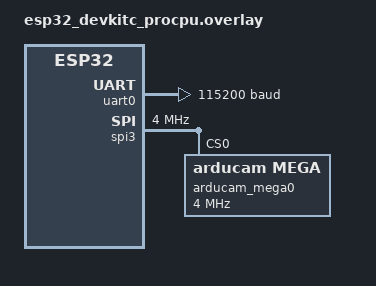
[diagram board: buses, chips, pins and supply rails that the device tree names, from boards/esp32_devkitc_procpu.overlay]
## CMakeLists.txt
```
# SPDX-License-Identifier: Apache-2.0

cmake_minimum_required(VERSION 3.20.0)
find_package(Zephyr REQUIRED HINTS $ENV{ZEPHYR_BASE})
project(arducam_mega_full-featured)

FILE(GLOB app_sources src/*.c)
target_sources(app PRIVATE ${app_sources})
```

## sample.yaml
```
sample:
  name: arducam mega camera full-featured test
tests:
  sample.video.arducam_mega_full-featured:
    build_only: true
    tags: video
    platform_allow:
      - rpi_pico
    integration_platforms:
      - rpi_pico
```

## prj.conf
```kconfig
CONFIG_PRINTK=y
CONFIG_LOG=y
CONFIG_SERIAL=y

CONFIG_SPI=y
CONFIG_VIDEO=y
CONFIG_VIDEO_INIT_PRIORITY=72
CONFIG_VIDEO_BUFFER_POOL_SZ_MAX=2048
CONFIG_VIDEO_BUFFER_POOL_NUM_MAX=3
CONFIG_VIDEO_ARDUCAM_MEGA=y
```

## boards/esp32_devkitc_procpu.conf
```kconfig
CONFIG_UART_INTERRUPT_DRIVEN=y
CONFIG_VIDEO_LOG_LEVEL_INF=y
```

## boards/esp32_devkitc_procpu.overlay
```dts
/**
 * Copyright (c) 2023 Arducam Technology Co., Ltd. <www.arducam.com>
 *
 * SPDX-License-Identifier: Apache-2.0
 *
 */
&uart0{
	current-speed = <115200>;
};

&spi3 {
	clock-frequency = <4000000>;
	pinctrl-names = "default";
	arducam_mega0:arducam-mega0@0 {
		compatible = "arducam,mega";
		reg = <0>;
		spi-max-frequency = <4000000>;
		status = "okay";
	};
};
```

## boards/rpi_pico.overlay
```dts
/**
 * Copyright (c) 2023 Arducam Technology Co., Ltd. <www.arducam.com>
 *
 * SPDX-License-Identifier: Apache-2.0
 *
 */

&uart0{
	current-speed = <115200>;
};

&spi0 {
	clock-frequency = <4000000>;
	cs-gpios = <&gpio0 17 GPIO_ACTIVE_LOW>;
	pinctrl-names = "default";
	arducam_mega0:arducam-mega0@0 {
		compatible = "arducam,mega";
		reg = <0>;
		spi-max-frequency = <4000000>;
		status = "okay";
	};
};
```

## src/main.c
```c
/**
 * Copyright (c) 2023 Arducam Technology Co., Ltd. <www.arducam.com>
 *
 * SPDX-License-Identifier: Apache-2.0
 */

#include <zephyr/device.h>
#include <zephyr/kernel.h>
#include <zephyr/drivers/video.h>
#include <zephyr/drivers/video-controls.h>
#include <zephyr/drivers/uart.h>

#define LOG_LEVEL CONFIG_LOG_DEFAULT_LEVEL
#include <zephyr/logging/log.h>

LOG_MODULE_REGISTER(main);

#define SET_PICTURE_RESOLUTION 0X01
#define SET_VIDEO_RESOLUTION   0X02
#define GET_CAMERA_INFO        0X0F
#define TAKE_PICTURE           0X10
#define STOP_STREAM            0X21
#define CONTROL_WRITE          0xCC
#define CONTROL_QUERY_GET      0xCD

#define TYPE_BUF_SIZE  8
#define NAME_BUF_SIZE  20
#define QUERY_BUF_SIZE 800

#define MSG_SIZE 12
/* queue to store up to 10 messages (aligned to 4-byte boundary) */
K_MSGQ_DEFINE(uart_msgq, MSG_SIZE, 10, 4);

const struct device *console;
const struct device *video;
struct video_buffer *vbuf;

volatile uint8_t preview_on;
volatile uint8_t capture_flag;

const uint32_t pixel_format_table[] = {
	VIDEO_PIX_FMT_JPEG,
	VIDEO_PIX_FMT_RGB565,
	VIDEO_PIX_FMT_YUYV,
};

const uint16_t resolution_table[][2] = {
	{160, 120},  {320, 240},   {640, 480},   {800, 600},   {1280, 720},
	{1280, 960}, {1600, 1200}, {1920, 1080}, {2048, 1536}, {2592, 1944},
	{96, 96},    {128, 128},   {320, 320},
};

const uint8_t resolution_num = sizeof(resolution_table) / 4;
static uint8_t current_resolution;
static uint8_t take_picture_fmt = 0x1a;
static uint8_t head_and_tail[] = {0xff, 0xaa, 0x00, 0xff, 0xbb};

enum video_buf_type type = VIDEO_BUF_TYPE_OUTPUT;

/* receive buffer used in UART ISR callback */
static char rx_buf[MSG_SIZE];
static int rx_buf_pos;

void serial_cb(const struct device *dev, void *user_data);

static int set_mega_resolution(uint8_t sfmt)
{
	uint8_t resolution = sfmt & 0x0f;
	uint8_t pixelformat = (sfmt & 0x70) >> 4;

	if (resolution > resolution_num || pixelformat > 3) {
		return -1;
	}
	struct video_format fmt = {.width = resolution_table[resolution][0],
				   .height = resolution_table[resolution][1],
				   .pixelformat = pixel_format_table[pixelformat - 1],
				   .type = type};
	current_resolution = resolution;
	return video_set_format(video, &fmt);
}

static void uart_buffer_send(const struct device *dev, uint8_t *buffer, uint32_t length)
{
	for (uint32_t i = 0; i < length; i++) {
		uart_poll_out(dev, buffer[i]);
	}
}

static void uart_packet_send(uint8_t type, uint8_t *buffer, uint32_t length)
{
	head_and_tail[2] = type;
	uart_buffer_send(console, &head_and_tail[0], 3);
	uart_buffer_send(console, (uint8_t *)&length, 4);
	uart_buffer_send(console, buffer, length);
	uart_buffer_send(console, &head_and_tail[3], 2);
}

static int take_picture(void)
{
	int err, ret;

	err = video_dequeue(video, &vbuf, K_FOREVER);
	if (err) {
		LOG_ERR("Unable to dequeue video buf");
		return -1;
	}

	head_and_tail[2] = 0x01;
	uart_buffer_send(console, &head_and_tail[0], 3);
	uart_buffer_send(console, (uint8_t *)&vbuf->bytesused, 4);
	uart_poll_out(console, ((current_resolution & 0x0f) << 4) | 0x01);

	uart_buffer_send(console, vbuf->buffer, vbuf->bytesused);

	video_enqueue(video, vbuf);
	do{
		ret = video_dequeue(video, &vbuf, K_FOREVER);
		uart_buffer_send(console, vbuf->buffer, vbuf->bytesused);
		video_enqueue(video, vbuf);
	}while(!ret);
	uart_buffer_send(console, &head_and_tail[3], 2);

	return 0;
}

static void video_preview(void)
{
	int err;

	if (!preview_on) {
		return;
	}

	err = video_dequeue(video, &vbuf, K_FOREVER);
	if (err) {
		LOG_ERR("Unable to dequeue video buf");
		return;
	}

	if (capture_flag == 1) {
		capture_flag = 0;
		head_and_tail[2] = 0x01;
		uart_buffer_send(console, &head_and_tail[0], 3);
		uart_buffer_send(console, (uint8_t *)&vbuf->bytesused, 4);
		uart_poll_out(console, ((current_resolution & 0x0f) << 4) | 0x01);
	}

	uart_buffer_send(console, vbuf->buffer, vbuf->bytesused);

	uart_buffer_send(console, &head_and_tail[3], 2);

	err = video_enqueue(video, vbuf);
	if (err) {
		LOG_ERR("Unable to requeue video buf");
		return;
	}
}

static int get_video_query_info(uint32_t id)
{
	char str_buf[QUERY_BUF_SIZE];
	uint32_t str_len;
	int offset = 0;

	const char *type_names[] = {"invalid", "bool", "int",          "int64",
				    "int64",   "menu", "integer menu", "string"};
	struct video_ctrl_query cq = {.dev = video, .id = id};
	struct video_control vc = {.id = cq.id, .val = 0};

	if (video_query_ctrl(&cq) != 0) {
		LOG_ERR("Video control query did not find item with an id %d", cq.id);
		return -1;
	}

	vc.id = cq.id;
	video_get_ctrl(cq.dev, &vc);

	const char *type = type_names[cq.type];
	char typebuf[TYPE_BUF_SIZE];
	char namebuf[NAME_BUF_SIZE];

	snprintf(typebuf, sizeof(typebuf), "(%s)", type);

	if (cq.name == NULL) {
		snprintf(namebuf, sizeof(namebuf), "Private Control");
		cq.name = namebuf;
	}

	offset += snprintf(str_buf + offset, QUERY_BUF_SIZE - offset,
			   "Video ctrl query result: %s 0x%08x %-8s (flags=0x%02x) : min=%d max=%d "
			   "step=%d default=%d value=%d \r\n",
			   cq.name, cq.id, typebuf, cq.flags, cq.range.min, cq.range.max,
			   cq.range.step, cq.range.def, vc.val);

	str_len = strlen(str_buf);
	uart_packet_send(0x02, str_buf, str_len);
	return 0;
}

static uint8_t recv_process(uint8_t *buff)
{
	struct video_control ctrl = {.id = VIDEO_CID_BRIGHTNESS, .val = 1};

	switch (buff[0]) {
	case SET_PICTURE_RESOLUTION:
		if (set_mega_resolution(buff[1]) == 0) {
			take_picture_fmt = buff[1];
		}
		break;
	case SET_VIDEO_RESOLUTION:
		if (preview_on == 0) {
			set_mega_resolution(buff[2] | 0x10);
			video_stream_start(video, type);
			capture_flag = 1;
		}
		preview_on = 1;
		break;
	case TAKE_PICTURE:
		video_stream_start(video, type);
		take_picture();
		video_stream_stop(video, type);
		break;
	case STOP_STREAM:
		if (preview_on) {
			uart_buffer_send(console, &head_and_tail[3], 2);
			video_stream_stop(video, type);
			set_mega_resolution(take_picture_fmt);
		}
		preview_on = 0;
		break;
	case CONTROL_WRITE:
		ctrl.id = (buff[1] << 24) | (buff[2] << 16) | (buff[3] << 8) | buff[4];
		ctrl.val = (buff[5] << 24) | (buff[6] << 16) | (buff[7] << 8) | buff[8];
		video_set_ctrl(video, &ctrl);
		break;
	case CONTROL_QUERY_GET:
		uint32_t q_id = (buff[1] << 24) | (buff[2] << 16) | (buff[3] << 8) | buff[4];
		get_video_query_info(q_id);
		break;
	default:
		break;
	}

	return buff[0];
}

static uint8_t uart_available(uint8_t *p)
{
	return k_msgq_get(&uart_msgq, p, K_NO_WAIT);
}

int main(void)
{
	uint8_t recv_buffer[12] = {0};
	struct video_buffer *buffers[3];
	int i = 0;

	console = DEVICE_DT_GET(DT_CHOSEN(zephyr_console));
	if (!device_is_ready(console)) {
		LOG_ERR("%s: device not ready.", console->name);
		return -1;
	}
	uart_irq_callback_user_data_set(console, serial_cb, NULL);
	uart_irq_rx_enable(console);

	video = DEVICE_DT_GET(DT_NODELABEL(arducam_mega0));

	if (!device_is_ready(video)) {
		LOG_ERR("Video device %s not ready.", video->name);
		return -1;
	}
	/* Alloc video buffers and enqueue for capture */
	for (i = 0; i < ARRAY_SIZE(buffers); i++) {
		buffers[i] = video_buffer_alloc(1024, K_NO_WAIT);
		if (buffers[i] == NULL) {
			LOG_ERR("Unable to alloc video buffer");
			return -1;
		}
		video_enqueue(video, buffers[i]);
	}

	printk("- Device name: %s\n", video->name);

	while (1) {
		if (!uart_available(recv_buffer)) {
			recv_process(recv_buffer);
		}
		video_preview();
		k_msleep(1);
	}
	return 0;
}

/*
 * Read characters from UART until line end is detected. Afterwards push the
 * data to the message queue.
 */
void serial_cb(const struct device *dev, void *user_data)
{
	uint8_t c;

	if (!uart_irq_update(dev)) {
		return;
	}

	if (!uart_irq_rx_ready(dev)) {
		return;
	}

	/* read until FIFO empty */
	while (uart_fifo_read(dev, &c, 1) == 1) {
		if (c == 0xAA && rx_buf_pos > 0) {
			k_msgq_put(&uart_msgq, &rx_buf, K_NO_WAIT);
			rx_buf_pos = 0;
		} else if (c == 0x55) {
			rx_buf_pos = 0;
		} else {
			rx_buf[rx_buf_pos] = c;
			if (++rx_buf_pos >= MSG_SIZE) {
				rx_buf_pos = 0;
			}
		}
	}
}
```
